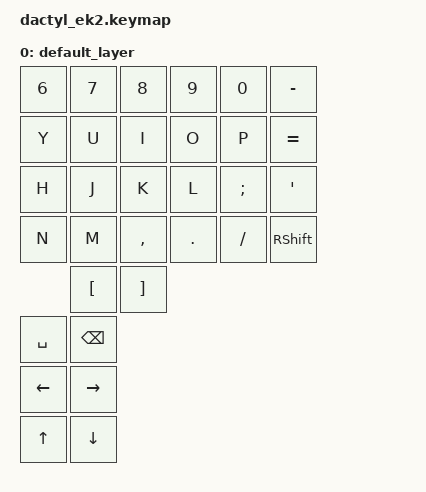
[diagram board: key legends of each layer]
#include <behaviors.dtsi>
#include <dt-bindings/zmk/keys.h>
#include <dt-bindings/zmk/bt.h>
/ {
    combos {
        compatible = "zmk,combos";
        combo_esc {
            timeout-ms = <50>;
            key-positions = <0 5>;
            bindings = <&bt BT_CLR>;
        };
    };
};
/ {
    keymap {
        compatible = "zmk,keymap";

        default_layer {
            bindings = <
&kp N6        &kp N7    &kp N8    &kp N9    &kp N0     &kp MINUS
&kp Y         &kp U     &kp I     &kp O     &kp P      &kp EQUAL
&kp H         &kp J     &kp K     &kp L     &kp SEMI      &kp SQT
&kp N         &kp M     &kp COMMA &kp DOT   &kp FSLH      &kp RSHFT
              &kp LBKT  &kp RBKT
&kp SPACE     &kp BSPC
&kp LEFT      &kp RIGHT
&kp UP        &kp DOWN
            >;
        };
    };
};
